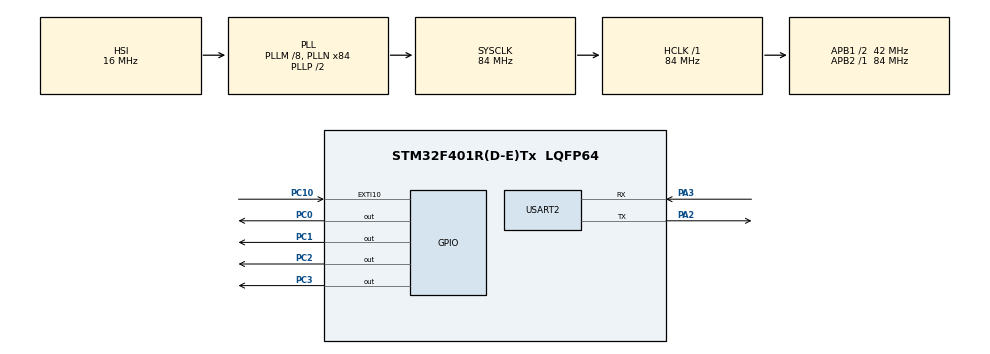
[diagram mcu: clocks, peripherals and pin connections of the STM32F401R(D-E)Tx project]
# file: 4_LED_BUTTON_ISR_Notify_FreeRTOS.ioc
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Mcu.Family=STM32F4
Mcu.Name=STM32F401R(D-E)Tx
Mcu.Package=LQFP64
NVIC.EXTI15_10_IRQn=true\:0\:0\:false\:false\:true\:true\:true\:true
NVIC.PriorityGroup=NVIC_PRIORITYGROUP_4
NVIC.TIM2_IRQn=true\:15\:0\:false\:false\:true\:false\:true\:true
NVIC.TimeBase=TIM2_IRQn
NVIC.TimeBaseIP=TIM2
PA2.Mode=Asynchronous
PA2.Signal=USART2_TX
PA3.Mode=Asynchronous
PA3.Signal=USART2_RX
PC0.GPIO_Speed=GPIO_SPEED_FREQ_VERY_HIGH
PC0.Signal=GPIO_Output
PC1.GPIO_Speed=GPIO_SPEED_FREQ_VERY_HIGH
PC1.Signal=GPIO_Output
PC10.GPIO_PuPd=GPIO_PULLDOWN
PC10.Signal=GPXTI10
PC2.GPIO_Speed=GPIO_SPEED_FREQ_VERY_HIGH
PC2.Signal=GPIO_Output
PC3.GPIO_Speed=GPIO_SPEED_FREQ_VERY_HIGH
PC3.Signal=GPIO_Output
ProjectManager.HeapSize=0x200
ProjectManager.StackSize=0x400
ProjectManager.TargetToolchain=STM32CubeIDE
RCC.48MHZClocksFreq_Value=42000000
RCC.AHBFreq_Value=84000000
RCC.APB1CLKDivider=RCC_HCLK_DIV2
RCC.APB1Freq_Value=42000000
RCC.APB1TimFreq_Value=84000000
RCC.APB2Freq_Value=84000000
RCC.APB2TimFreq_Value=84000000
RCC.CortexFreq_Value=84000000
RCC.HCLKFreq_Value=84000000
RCC.HSE_VALUE=25000000
RCC.HSI_VALUE=16000000
RCC.LSE_VALUE=32768
RCC.PLLM=8
RCC.PLLN=84
RCC.SYSCLKFreq_VALUE=84000000
RCC.SYSCLKSource=RCC_SYSCLKSOURCE_PLLCLK
RCC.VCOOutputFreq_Value=168000000
USART2.VirtualMode=VM_ASYNC
VP_SYS_VS_tim2.Mode=TIM2
board=custom

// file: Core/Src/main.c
/* USER CODE BEGIN Header */
/**
  ******************************************************************************
  * @file           : main.c
  * @brief          : Main program body
  ******************************************************************************
  * @attention
  *
  * Copyright (c) 2023 STMicroelectronics.
  * All rights reserved.
  *
  * This software is licensed under terms that can be found in the LICENSE file
  * in the root directory of this software component.
  * If no LICENSE file comes with this software, it is provided AS-IS.
  *
  ******************************************************************************
  */
/* USER CODE END Header */
#include "main.h"

/* USER CODE BEGIN Includes */
#include "FreeRTOS.h"
#include "task.h"
#include "stdio.h"
#include "string.h"
#include "stdbool.h"
/* USER CODE END Includes */

UART_HandleTypeDef huart2;

/* USER CODE BEGIN PV */
TaskHandle_t Task1_Handle;
TaskHandle_t Task2_Handle;
TaskHandle_t Task3_Handle;

TaskHandle_t volatile current_handle = NULL;
#define DWT_CTRL (*(volatile uint32_t*)0xE0001000)
BaseType_t status;
char tx_buffer[50];
/* USER CODE END PV */

void SystemClock_Config(void);
static void MX_GPIO_Init(void);
static void MX_USART2_UART_Init(void);
/* USER CODE BEGIN PFP */
static void Task1_Handler(void *params);
static void Task2_Handler(void *params);
static void Task3_Handler(void *params);

/* USER CODE END PFP */

int main(void)
{

  /* MCU Configuration--------------------------------------------------------*/

  /* Reset of all peripherals, Initializes the Flash interface and the Systick. */
  HAL_Init();

  /* Configure the system clock */
  SystemClock_Config();

  /* Initialize all configured peripherals */
  MX_GPIO_Init();
  MX_USART2_UART_Init();
  /* USER CODE BEGIN 2 */

  DWT_CTRL |= (1<<0);

  SEGGER_SYSVIEW_Conf();
  vSetVarulMaxPRIGROUPValue();
  SEGGER_SYSVIEW_Start();

/**********************************PREEMPTIVE IS DISABLED SO CO-OPERATIVE SCHEDULING IS WORKING********************/
status = xTaskCreate(Task1_Handler,"Red Led Task",configMINIMAL_STACK_SIZE,NULL,3,&Task1_Handle);

configASSERT(status == pdPASS); // Check if it is succesfully created

current_handle = Task1_Handle;

status = xTaskCreate(Task2_Handler,"Green Led Task",configMINIMAL_STACK_SIZE,NULL,2,&Task2_Handle);

configASSERT(status == pdPASS);  // Check if it is succesfully created

status = xTaskCreate(Task3_Handler,"Blue Leds Task",configMINIMAL_STACK_SIZE,NULL,1,&Task3_Handle);

configASSERT(status == pdPASS); // Check if it is succesfully created

vTaskStartScheduler();

  /* USER CODE END 2 */

  /* Infinite loop */
  while (1)
  {

  }
}

void SystemClock_Config(void)
{
  RCC_OscInitTypeDef RCC_OscInitStruct = {0};
  RCC_ClkInitTypeDef RCC_ClkInitStruct = {0};

  /** Configure the main internal regulator output voltage
  */
  __HAL_RCC_PWR_CLK_ENABLE();
  __HAL_PWR_VOLTAGESCALING_CONFIG(PWR_REGULATOR_VOLTAGE_SCALE2);

  /** Initializes the RCC Oscillators according to the specified parameters
  * in the RCC_OscInitTypeDef structure.
  */
  RCC_OscInitStruct.OscillatorType = RCC_OSCILLATORTYPE_HSI;
  RCC_OscInitStruct.HSIState = RCC_HSI_ON;
  RCC_OscInitStruct.HSICalibrationValue = RCC_HSICALIBRATION_DEFAULT;
  RCC_OscInitStruct.PLL.PLLState = RCC_PLL_ON;
  RCC_OscInitStruct.PLL.PLLSource = RCC_PLLSOURCE_HSI;
  RCC_OscInitStruct.PLL.PLLM = 8;
  RCC_OscInitStruct.PLL.PLLN = 84;
  RCC_OscInitStruct.PLL.PLLP = RCC_PLLP_DIV2;
  RCC_OscInitStruct.PLL.PLLQ = 4;
  if (HAL_RCC_OscConfig(&RCC_OscInitStruct) != HAL_OK)
  {
    Error_Handler();
  }

  /** Initializes the CPU, AHB and APB buses clocks
  */
  RCC_ClkInitStruct.ClockType = RCC_CLOCKTYPE_HCLK|RCC_CLOCKTYPE_SYSCLK
                              |RCC_CLOCKTYPE_PCLK1|RCC_CLOCKTYPE_PCLK2;
  RCC_ClkInitStruct.SYSCLKSource = RCC_SYSCLKSOURCE_PLLCLK;
  RCC_ClkInitStruct.AHBCLKDivider = RCC_SYSCLK_DIV1;
  RCC_ClkInitStruct.APB1CLKDivider = RCC_HCLK_DIV2;
  RCC_ClkInitStruct.APB2CLKDivider = RCC_HCLK_DIV1;

  if (HAL_RCC_ClockConfig(&RCC_ClkInitStruct, FLASH_LATENCY_2) != HAL_OK)
  {
    Error_Handler();
  }
}

static void MX_USART2_UART_Init(void)
{

  huart2.Instance = USART2;
  huart2.Init.BaudRate = 115200;
  huart2.Init.WordLength = UART_WORDLENGTH_8B;
  huart2.Init.StopBits = UART_STOPBITS_1;
  huart2.Init.Parity = UART_PARITY_NONE;
  huart2.Init.Mode = UART_MODE_TX_RX;
  huart2.Init.HwFlowCtl = UART_HWCONTROL_NONE;
  huart2.Init.OverSampling = UART_OVERSAMPLING_16;
  if (HAL_UART_Init(&huart2) != HAL_OK)
  {
    Error_Handler();
  }

}

static void MX_GPIO_Init(void)
{
  GPIO_InitTypeDef GPIO_InitStruct = {0};

  /* GPIO Ports Clock Enable */
  __HAL_RCC_GPIOC_CLK_ENABLE();
  __HAL_RCC_GPIOA_CLK_ENABLE();

  /*Configure GPIO pin Output Level */
  HAL_GPIO_WritePin(GPIOC, GPIO_PIN_0|GPIO_PIN_1|GPIO_PIN_2|GPIO_PIN_3, GPIO_PIN_RESET);

  /*Configure GPIO pins : PC0 PC1 PC2 PC3 */
  GPIO_InitStruct.Pin = GPIO_PIN_0|GPIO_PIN_1|GPIO_PIN_2|GPIO_PIN_3;
  GPIO_InitStruct.Mode = GPIO_MODE_OUTPUT_PP;
  GPIO_InitStruct.Pull = GPIO_NOPULL;
  GPIO_InitStruct.Speed = GPIO_SPEED_FREQ_VERY_HIGH;
  HAL_GPIO_Init(GPIOC, &GPIO_InitStruct);

  /*Configure GPIO pin : PC10 */
  GPIO_InitStruct.Pin = GPIO_PIN_10;
  GPIO_InitStruct.Mode = GPIO_MODE_IT_RISING;
  GPIO_InitStruct.Pull = GPIO_PULLDOWN;
  HAL_GPIO_Init(GPIOC, &GPIO_InitStruct);

  /* EXTI interrupt init*/
  HAL_NVIC_SetPriority(EXTI15_10_IRQn, 5,0);
  HAL_NVIC_EnableIRQ(EXTI15_10_IRQn);

}

/* USER CODE BEGIN 4 */
static void Task1_Handler(void *params)
{
    BaseType_t status;

	while(1)
	{
        HAL_UART_Transmit(&huart2,(uint8_t*)tx_buffer,sprintf(tx_buffer,"Toggling Red Button\r\n"),HAL_MAX_DELAY);
        HAL_GPIO_TogglePin(GPIOC, GPIO_PIN_1);
        status = xTaskNotifyWait(0,0,NULL,pdMS_TO_TICKS(1000));
        if(status == pdTRUE)
        {
           portENTER_CRITICAL();
           current_handle = Task2_Handle;
           portEXIT_CRITICAL();
           HAL_GPIO_WritePin(GPIOC,GPIO_PIN_1,GPIO_PIN_SET);
           vTaskDelete(NULL); // Delete itself

        }

	}

}
static void Task2_Handler(void *params)
{
    BaseType_t status;

	while(1)
	{
        HAL_UART_Transmit(&huart2,(uint8_t*)tx_buffer,sprintf(tx_buffer,"Toggling Green Button\r\n"),HAL_MAX_DELAY);
        HAL_GPIO_TogglePin(GPIOC, GPIO_PIN_0);
        status = xTaskNotifyWait(0,0,NULL,pdMS_TO_TICKS(800));
        if(status == pdTRUE)
        {
           portENTER_CRITICAL();
           current_handle = Task3_Handle;
           portEXIT_CRITICAL();
           HAL_GPIO_WritePin(GPIOC,GPIO_PIN_0,GPIO_PIN_SET);
           vTaskDelete(NULL); // Delete itself

        }

	}
}
static void Task3_Handler(void *params)
{
    BaseType_t status;

	while(1)
	{
        HAL_UART_Transmit(&huart2,(uint8_t*)tx_buffer,sprintf(tx_buffer,"Toggling Blue Buttons\r\n"),HAL_MAX_DELAY);
        HAL_GPIO_TogglePin(GPIOC, GPIO_PIN_2|GPIO_PIN_3);
        status = xTaskNotifyWait(0,0,NULL,pdMS_TO_TICKS(400));
        if(status == pdTRUE)
        {
           portENTER_CRITICAL();
           current_handle = NULL;
           portEXIT_CRITICAL();
           HAL_GPIO_WritePin(GPIOC,GPIO_PIN_2|GPIO_PIN_3,GPIO_PIN_SET);
           vTaskDelete(NULL); // Delete itself

        }

	}
}
void HAL_GPIO_EXTI_Callback(uint16_t GPIO_Pin)
{
	traceISR_ENTER(); // Start Segger
   BaseType_t pxHigherPriorityTaskWoken = pdFALSE;
   if(HAL_GPIO_ReadPin(GPIOC, GPIO_PIN_10))
   {
       while(HAL_GPIO_ReadPin(GPIOC, GPIO_PIN_10));
       xTaskNotifyFromISR(current_handle,0,eNoAction,&pxHigherPriorityTaskWoken);
       portYIELD_FROM_ISR(pxHigherPriorityTaskWoken);

   }
   traceISR_EXIT(); // Stop Segger
}
/* USER CODE END 4 */

void HAL_TIM_PeriodElapsedCallback(TIM_HandleTypeDef *htim)
{
  if (htim->Instance == TIM2) {
    HAL_IncTick();
  }
}

void Error_Handler(void)
{
  __disable_irq();
  while (1)
  {
  }
}
